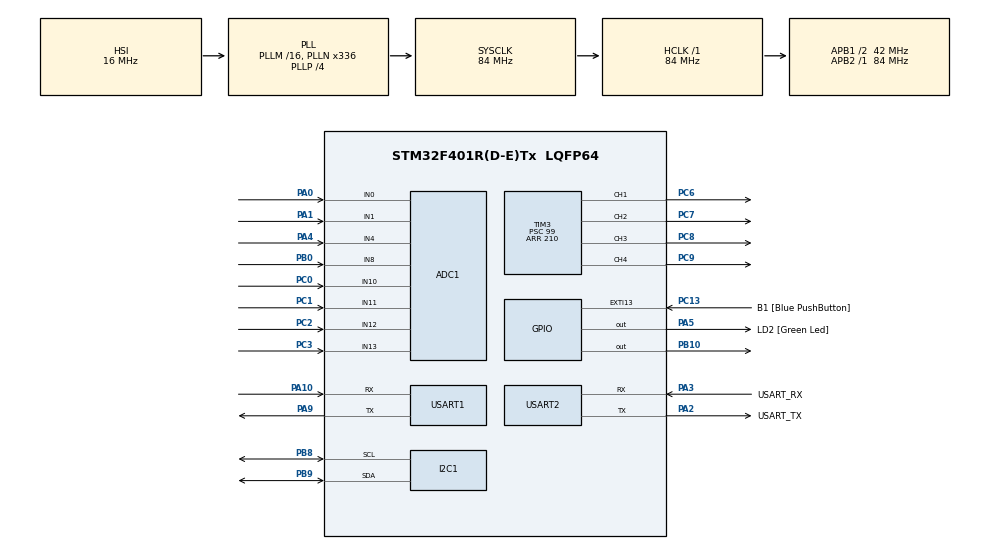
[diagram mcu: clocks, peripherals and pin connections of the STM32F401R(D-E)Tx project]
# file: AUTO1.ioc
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ADC1.Channel-0\#ChannelRegularConversion=ADC_CHANNEL_1
ADC1.Channel-1\#ChannelRegularConversion=ADC_CHANNEL_4
ADC1.Channel-2\#ChannelRegularConversion=ADC_CHANNEL_8
ADC1.Channel-3\#ChannelRegularConversion=ADC_CHANNEL_11
ADC1.Channel-4\#ChannelRegularConversion=ADC_CHANNEL_10
ADC1.Channel-5\#ChannelRegularConversion=ADC_CHANNEL_12
ADC1.Channel-6\#ChannelRegularConversion=ADC_CHANNEL_13
ADC1.DMAContinuousRequests=ENABLE
ADC1.EOCSelection=ADC_EOC_SEQ_CONV
ADC1.NbrOfConversion=8
ADC1.NbrOfConversionFlag=1
ADC1.Rank-0\#ChannelRegularConversion=2
ADC1.Rank-1\#ChannelRegularConversion=3
ADC1.Rank-2\#ChannelRegularConversion=4
ADC1.Rank-3\#ChannelRegularConversion=5
ADC1.Rank-4\#ChannelRegularConversion=6
ADC1.Rank-5\#ChannelRegularConversion=7
ADC1.Rank-6\#ChannelRegularConversion=8
ADC1.SamplingTime-0\#ChannelRegularConversion=ADC_SAMPLETIME_15CYCLES
ADC1.SamplingTime-1\#ChannelRegularConversion=ADC_SAMPLETIME_15CYCLES
ADC1.SamplingTime-2\#ChannelRegularConversion=ADC_SAMPLETIME_15CYCLES
ADC1.SamplingTime-3\#ChannelRegularConversion=ADC_SAMPLETIME_15CYCLES
ADC1.SamplingTime-4\#ChannelRegularConversion=ADC_SAMPLETIME_15CYCLES
ADC1.SamplingTime-5\#ChannelRegularConversion=ADC_SAMPLETIME_15CYCLES
ADC1.SamplingTime-6\#ChannelRegularConversion=ADC_SAMPLETIME_15CYCLES
ADC1.master=1
Dma.ADC1.0.Direction=DMA_PERIPH_TO_MEMORY
Dma.ADC1.0.FIFOMode=DMA_FIFOMODE_DISABLE
Dma.ADC1.0.Instance=DMA2_Stream0
Dma.ADC1.0.MemDataAlignment=DMA_MDATAALIGN_HALFWORD
Dma.ADC1.0.MemInc=DMA_MINC_ENABLE
Dma.ADC1.0.Mode=DMA_NORMAL
Dma.ADC1.0.PeriphDataAlignment=DMA_PDATAALIGN_HALFWORD
Dma.ADC1.0.PeriphInc=DMA_PINC_DISABLE
Dma.ADC1.0.Priority=DMA_PRIORITY_LOW
Dma.Request0=ADC1
Mcu.Family=STM32F4
Mcu.Name=STM32F401R(D-E)Tx
Mcu.Package=LQFP64
NVIC.ADC_IRQn=true\:0\:0\:false\:false\:true\:true\:true
NVIC.DMA2_Stream0_IRQn=true\:0\:0\:false\:false\:true\:false\:true
NVIC.I2C1_ER_IRQn=true\:0\:0\:false\:false\:true\:true\:true
NVIC.I2C1_EV_IRQn=true\:0\:0\:false\:false\:true\:true\:true
NVIC.PriorityGroup=NVIC_PRIORITYGROUP_0
NVIC.TIM4_IRQn=true\:0\:0\:false\:false\:true\:true\:true
NVIC.USART1_IRQn=true\:0\:0\:false\:false\:true\:true\:true
NVIC.USART2_IRQn=true\:0\:0\:false\:false\:true\:true\:true
PA0-WKUP.Signal=ADCx_IN0
PA1.Signal=ADCx_IN1
PA10.Mode=Asynchronous
PA10.Signal=USART1_RX
PA13.GPIO_Label=TMS
PA13.Mode=Serial_Wire
PA13.Signal=SYS_JTMS-SWDIO
PA14.GPIO_Label=TCK
PA14.Mode=Serial_Wire
PA14.Signal=SYS_JTCK-SWCLK
PA2.GPIO_Label=USART_TX
PA2.GPIO_Mode=GPIO_MODE_AF_PP
PA2.GPIO_PuPd=GPIO_NOPULL
PA2.GPIO_Speed=GPIO_SPEED_FREQ_LOW
PA2.Mode=Asynchronous
PA2.Signal=USART2_TX
PA3.GPIO_Label=USART_RX
PA3.GPIO_Mode=GPIO_MODE_AF_PP
PA3.GPIO_PuPd=GPIO_NOPULL
PA3.GPIO_Speed=GPIO_SPEED_FREQ_LOW
PA3.Mode=Asynchronous
PA3.Signal=USART2_RX
PA4.Signal=ADCx_IN4
PA5.GPIO_Label=LD2 [Green Led]
PA5.GPIO_Mode=GPIO_MODE_OUTPUT_PP
PA5.GPIO_PuPd=GPIO_NOPULL
PA5.GPIO_Speed=GPIO_SPEED_FREQ_LOW
PA5.Signal=GPIO_Output
PA9.Mode=Asynchronous
PA9.Signal=USART1_TX
PB0.Signal=ADCx_IN8
PB10.Signal=GPIO_Output
PB3.GPIO_Label=SWO
PB3.Signal=SYS_JTDO-SWO
PB8.Mode=I2C
PB8.Signal=I2C1_SCL
PB9.Mode=I2C
PB9.Signal=I2C1_SDA
PC0.Signal=ADCx_IN10
PC1.Signal=ADCx_IN11
PC13-ANTI_TAMP.GPIO_Label=B1 [Blue PushButton]
PC13-ANTI_TAMP.GPIO_ModeDefaultEXTI=GPIO_MODE_IT_FALLING
PC13-ANTI_TAMP.GPIO_PuPd=GPIO_NOPULL
PC13-ANTI_TAMP.Signal=GPXTI13
PC14-OSC32_IN.Mode=LSE-External-Oscillator
PC14-OSC32_IN.Signal=RCC_OSC32_IN
PC15-OSC32_OUT.Mode=LSE-External-Oscillator
PC15-OSC32_OUT.Signal=RCC_OSC32_OUT
PC2.Signal=ADCx_IN12
PC3.Signal=ADCx_IN13
PC6.Signal=S_TIM3_CH1
PC7.Signal=S_TIM3_CH2
PC8.Signal=S_TIM3_CH3
PC9.Signal=S_TIM3_CH4
PH0\ -\ OSC_IN.Mode=HSE-External-Clock-Source
PH0\ -\ OSC_IN.Signal=RCC_OSC_IN
PH1\ -\ OSC_OUT.Mode=HSE-External-Clock-Source
PH1\ -\ OSC_OUT.Signal=RCC_OSC_OUT
ProjectManager.HeapSize=0x200
ProjectManager.StackSize=0x400
ProjectManager.TargetToolchain=STM32CubeIDE
RCC.48MHZClocksFreq_Value=48000000
RCC.AHBFreq_Value=84000000
RCC.APB1CLKDivider=RCC_HCLK_DIV2
RCC.APB1Freq_Value=42000000
RCC.APB1TimFreq_Value=84000000
RCC.APB2Freq_Value=84000000
RCC.APB2TimFreq_Value=84000000
RCC.CortexFreq_Value=84000000
RCC.HCLKFreq_Value=84000000
RCC.HSE_VALUE=8000000
RCC.HSI_VALUE=16000000
RCC.PLLN=336
RCC.PLLP=RCC_PLLP_DIV4
RCC.PLLQ=7
RCC.SYSCLKFreq_VALUE=84000000
RCC.SYSCLKSource=RCC_SYSCLKSOURCE_PLLCLK
RCC.VCOOutputFreq_Value=336000000
SH.ADCx_IN0.0=ADC1_IN0,IN0
SH.ADCx_IN1.0=ADC1_IN1,IN1
SH.ADCx_IN10.0=ADC1_IN10,IN10
SH.ADCx_IN11.0=ADC1_IN11,IN11
SH.ADCx_IN12.0=ADC1_IN12,IN12
SH.ADCx_IN13.0=ADC1_IN13,IN13
SH.ADCx_IN4.0=ADC1_IN4,IN4
SH.ADCx_IN8.0=ADC1_IN8,IN8
SH.S_TIM3_CH1.0=TIM3_CH1,PWM Generation1 CH1
SH.S_TIM3_CH2.0=TIM3_CH2,PWM Generation2 CH2
SH.S_TIM3_CH3.0=TIM3_CH3,PWM Generation3 CH3
SH.S_TIM3_CH4.0=TIM3_CH4,PWM Generation4 CH4
TIM3.AutoReloadPreload=TIM_AUTORELOAD_PRELOAD_ENABLE
TIM3.Channel-PWM\ Generation1\ CH1=TIM_CHANNEL_1
TIM3.Channel-PWM\ Generation2\ CH2=TIM_CHANNEL_2
TIM3.Channel-PWM\ Generation3\ CH3=TIM_CHANNEL_3
TIM3.Channel-PWM\ Generation4\ CH4=TIM_CHANNEL_4
TIM3.Period=210
TIM3.Prescaler=99
TIM3.Pulse-PWM\ Generation1\ CH1=0
TIM3.Pulse-PWM\ Generation3\ CH3=0
TIM3.Pulse-PWM\ Generation4\ CH4=0
TIM4.AutoReloadPreload=TIM_AUTORELOAD_PRELOAD_ENABLE
TIM4.Period=42
TIM4.Prescaler=999
USART1.VirtualMode=VM_ASYNC
USART2.VirtualMode=VM_ASYNC
VP_TIM3_VS_ClockSourceINT.Mode=Internal
VP_TIM4_VS_ClockSourceINT.Mode=Internal
board=NUCLEO-F401RE

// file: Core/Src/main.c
/* USER CODE BEGIN Header */
/**
  ******************************************************************************
  * @file           : main.c
  * @brief          : Main program body
  ******************************************************************************
  * @attention
  *
  * <h2><center>&copy; Copyright (c) 2021 STMicroelectronics.
  * All rights reserved.</center></h2>
  *
  * This software component is licensed by ST under BSD 3-Clause license,
  * the "License"; You may not use this file except in compliance with the
  * License. You may obtain a copy of the License at:
  *                        opensource.org/licenses/BSD-3-Clause
  *
  ******************************************************************************
  */
/* USER CODE END Header */
#include "main.h"

/* USER CODE BEGIN Includes */
#include "string.h"
#include "stdlib.h"
/* USER CODE END Includes */

/* USER CODE BEGIN PTD */
 typedef union{
        uint8_t u8[4];
        int8_t  i8[4];

        uint16_t u16[2];
        int16_t  i16[2];

        uint32_t u32;
        int32_t  i32;

        float    f;
}_sWork;

typedef union{
    struct{
        uint8_t b0:1;
        uint8_t b1:1;
        uint8_t b2:1;
        uint8_t b3:1;
        uint8_t b4:1;
        uint8_t b5:1;
        uint8_t b6:1;
        uint8_t b7:1;
    }bit;
    uint8_t byte;
}flag;

flag flag1;

/* USER CODE END PTD */

/* USER CODE BEGIN PM */
#define race flag1.bit.b0

#define UART_PC		2
#define UART_ESP	1
#define LONG_CWJAP_MEGA	40
#define LONG_CWJAP_MICROS	35
#define LONG_ANS_CWJAP_MEGA	74
#define LONG_ANS_CWJAP_MICROS 70
const char CWJAP_MEGA[]={'A','T','+','C','W','J','A','P','=','"','M','E','G','A','C','A','B','L','E','-','7','0','"',',','"','6','0','2','A','D','0','7','4','F','7','7','0','"','\r','\n'};
const char CWJAP_MICROS[]={'A','T','+','C','W','J','A','P','=','"','M','I','C','R','O','S','"',',','"','m','i','c','r','o','s','1','2','3','4','5','6','7','"','\r','\n'};
const char CIFSR[]={"AT+CIFSR\r\n"};
const char CIPMUX[]={"AT+CIPMUX=0\r\n"};
const char CIPSTART[]={'A','T','+','C','I','P','S','T','A','R','T','=','"','U','D','P',
					   '"',',','"','1','9','2','.','1','6','8','.','0','.','1','3','"',',',
					   '3','0','0','1','6',',','3','0','1','6','\r','\n'};
const char CIPSEND[]={"AT+CIPSEND="};
const char CIPCLOSE[]={"AT+CIPCLOSE\r\n"};
const char CWQAP[]={"AT+CWQAP\r\n"};
const char CWMODE[]={"AT+CWMODE=3\r\n"};
const char ANS_CWQAP[]={"AT+CWQAP\r\n\r\nOK\r\n"};
const char ANS_CWMODE[]={"AT+CWMODE=3\r\n\r\nOK\r\n"};

const char ANS_CWJAP_MEGA[]={'A','T','+','C','W','J','A','P','=','"','M','E','G','A','C','A','B','L','E','-','7','0','"',',','"','6','0','2','A','D','0','7','4','F','7','7','0','"',
						'\r','\n','W','I','F','I',' ','C','O','N','N','E','C','T','E','D','\r','\n','W','I','F','I',
						' ','G','O','T','I','P','\r','\n','\r','\n','O','K','\r','\n'};

const char ANS_CWJAP_MICROS[]={'A','T','+','C','W','J','A','P','=','"','M','I','C','R','O','S','"',',','"','m','i','c','r','o','s','1','2','3','4','5','6','7',
						'"','\r','\n','W','I','F','I',' ','C','O','N','N','E','C','T','E','D','\r','\n','W','I','F','I',
						' ','G','O','T','I','P','\r','\n','\r','\n','O','K','\r','\n'};

const char ANS_CIPMUX[]={"AT+CIPMUX=0\r\n\r\nOK\r\n"};
const char ANS_CIPSTART[]={'A','T','+','C','I','P','S','T','A','R','T','=','"','U','D','P',
						   '"',',','"','1','9','2','.','1','6','8','.','0','.','1','3','"',',','3','0','0','1','6',',','3','0','1','6','\r',
						   '\n','C','O','N','N','E','C','T','\r','\n','\r','\n','O','K','\r','\n'};//59

const char ANS_CIPSEND[]={};
const char AUTOMATIC_WIFI_CONNECTED[]={"WIFI CONNECTED\r\nWIFI GOT IP\r\n"};
const char WIFI_DISCONNECT[]={"WIFI DISCONNECT\r\n"};

const char CIFSR_STAIP[]={"+CIFSR:STAIP,"};
const char OK[]={"\r\nOK\r\n"};

//const char CIPSEND_4BYTES[]={'A','T','+','C','I','P','S','E','N','D','=','8','\r','\n','\r','\n','O','K','\r','\n','>'};
const char CIPSEND1[]={'A','T','+','C','I','P','S','E','N','D','='};
const char CIPSEND2[]={'\r','\n','\r','\n','O','K','\r','\n','>'};
const char CIPSEND3[]={"Recv"};
const char CIPSEND4[]={" bytes\r\n\r\nSEND OK\r\n"};//25

const char ALIVE[]={'U','N','E','R', 0x02 ,':',0xF0};

const char IPD[]={'\r','\n','+','I','P','D',','};
const char UNER[]={'U','N','E','R'};

const char ACK_D0[]={'U','N','E','R',0x03,':',0xD0,0x0D,0xDC};
/* USER CODE END PM */

ADC_HandleTypeDef hadc1;
DMA_HandleTypeDef hdma_adc1;

I2C_HandleTypeDef hi2c1;

TIM_HandleTypeDef htim3;
TIM_HandleTypeDef htim4;

UART_HandleTypeDef huart1;
UART_HandleTypeDef huart2;

/* USER CODE BEGIN PV */
uint16_t ADCData[32][8];

volatile uint8_t bufferTxESP[256];
volatile uint8_t bufferRxESP[256];
volatile uint8_t bufferDebug[256];
volatile uint8_t indexR_TxESP=0;
volatile uint8_t indexW_TxESP=0;
volatile uint8_t indexR_RxESP=0;
volatile uint8_t indexW_RxESP=0;
volatile uint8_t indexR_Debug=0;
volatile uint8_t indexW_Debug=0;
uint8_t AT=0;
volatile uint16_t timeOut=0;
volatile uint16_t timeOut2=0;
volatile uint16_t timeOut3=0;
volatile uint16_t timeOut4=0;
uint8_t duty=0;
uint8_t readyToSend=0;
uint8_t espReadyToRecieve=0;
uint8_t decodeCIPSEND=0;
uint8_t decodeCIFSR=0;
char espIP[15];
uint8_t lengthIP=0;

uint8_t cmdUNERprotocol;
uint8_t bytesUNERprotocol;
uint8_t decodeIPD;
uint8_t cantBytes;
uint8_t cks;
uint8_t bytesToSend;
uint8_t comando=0xF0;
volatile uint8_t indexADC=0;
uint8_t bytesToSend_aux=0;

_sWork PWM_motor1,PWM_motor2,jobTime,valueADC;
/* USER CODE END PV */

void SystemClock_Config(void);
static void MX_GPIO_Init(void);
static void MX_USART2_UART_Init(void);
static void MX_ADC1_Init(void);
static void MX_I2C1_Init(void);
static void MX_TIM3_Init(void);
static void MX_USART1_UART_Init(void);
static void MX_DMA_Init(void);
static void MX_TIM4_Init(void);
/* USER CODE BEGIN PFP */
void HAL_UART_RxCpltCallback(UART_HandleTypeDef *huart);

void uartTX(uint8_t uart);

void initESP();
void DecodeAnsESP();
void udpCom(uint8_t cmd);
void DecodeCommands();
void readADC();
/* USER CODE END PFP */

/* USER CODE BEGIN 0 */
void HAL_ADC_ConvCpltCallback(ADC_HandleTypeDef* hadc)
{
	indexADC++;
	if(indexADC == 32)
		indexADC=0;
}

void HAL_UART_RxCpltCallback(UART_HandleTypeDef *huart){
	if(&(*huart)==&huart2){
		//indexW_PC++;
		//HAL_UART_Receive_IT(&huart2, &bufferPC[indexW_PC], 1);
	}

	if(&(*huart)==&huart1){
		indexW_RxESP++;
		HAL_UART_Receive_IT(&huart1, &bufferRxESP[indexW_RxESP], 1);
	}
}

void HAL_TIM_PeriodElapsedCallback(TIM_HandleTypeDef *htim){
	if(htim->Instance == TIM4){	//TIMER 4:	500us
		HAL_ADC_Start_DMA(&hadc1, (uint32_t *)&ADCData[indexADC],8);
		if(timeOut>0)
			timeOut--;
		if(timeOut2>0)
			timeOut2--;
		if(timeOut3>0)
			timeOut3--;
		if(timeOut4>0)
			timeOut4--;
	}
}

void readADC(){
//	if(indexADC>0)
//		valueADC.u16[0]=ADCData[indexADC-1][0];
}

void uartTX(uint8_t uart){

	if(uart == UART_PC ){
		if((huart2.Instance->SR & UART_FLAG_TXE)==UART_FLAG_TXE){
			huart2.Instance->DR=bufferDebug[indexR_Debug];
			indexR_Debug++;
		}
	}

	if(uart == UART_ESP ){
		if((huart1.Instance->SR & UART_FLAG_TXE)==UART_FLAG_TXE){
			huart1.Instance->DR=bufferTxESP[indexR_TxESP];
			indexR_TxESP++;
		}
	}
}

void  initESP(){

	if(readyToSend){
		switch(AT){
			case 0:
				memcpy(&bufferTxESP[indexW_TxESP],CWMODE,13);
				indexW_TxESP+=13;
				timeOut2=200;
				readyToSend=0;
				break;
			case 1:
				timeOut2=20000;
				readyToSend=0;
				break;
			case 2:
				memcpy(&bufferTxESP[indexW_TxESP],CWJAP_MEGA,LONG_CWJAP_MEGA);
				indexW_TxESP+=LONG_CWJAP_MEGA;
				timeOut2=2000;
				readyToSend=0;
				break;
			case 3:
				memcpy(&bufferTxESP[indexW_TxESP],CIPMUX,13);
				indexW_TxESP+=13;
				timeOut2=200;
				readyToSend=0;
				break;
			case 4:
				memcpy(&bufferTxESP[indexW_TxESP],CIFSR,10);
				indexW_TxESP+=10;
				timeOut2=4000;
				readyToSend=0;
				break;
			case 5:
				memcpy(&bufferTxESP[indexW_TxESP],CIPSTART,45);
				indexW_TxESP+=45;
				timeOut2=2000;
				readyToSend=0;
				break;
			case 6:
				duty++;
				break;
		}
	}
}

void DecodeAnsESP(){
	static uint8_t i=0,k=2;

	bufferDebug[indexW_Debug]=bufferRxESP[indexR_RxESP];
	indexW_Debug++;

	switch(AT){
		case 0:
			if(bufferRxESP[indexR_RxESP]==ANS_CWMODE[i]){
				i++;
				if(i==19){
					AT++;
					i=0;
					readyToSend=1;
				}
			}else{
				if(i>0){
					indexR_RxESP=indexW_RxESP;
					readyToSend=1;
					i=0;
				}
			}
			indexR_RxESP++;
			break;

		case 1:
			if(bufferRxESP[indexR_RxESP]==AUTOMATIC_WIFI_CONNECTED[i]){
				i++;
				if(i==29){
					AT=3;
					i=0;
					readyToSend=1;
				}
			}
			else{
				if(bufferRxESP[indexR_RxESP]==WIFI_DISCONNECT[i]){
					i++;
					if(i==17){
						AT=0;
						i=0;
						readyToSend=1;
						HAL_GPIO_WritePin(GPIOB, GPIO_PIN_10, GPIO_PIN_RESET);//Reset ESP8266
						timeOut=2000;
					}
				}else{
					AT=2;
					i=0;
					readyToSend=1;
				}
			}
			indexR_RxESP++;
			break;
		case 2:
			if(bufferRxESP[indexR_RxESP]==ANS_CWJAP_MEGA[i]){
				i++;

				if(i==LONG_ANS_CWJAP_MEGA){
					AT++;
					i=0;
					readyToSend=1;
				}
			}
			else{
				if(i>0){
					indexR_RxESP=indexW_RxESP;
					readyToSend=1;
					i=0;
					break;
				}
			}
			indexR_RxESP++;
			break;
		case 3:
			if(bufferRxESP[indexR_RxESP]==ANS_CIPMUX[i]){
				i++;
				if(i==19){
					AT++;
					i=0;
					readyToSend=1;
				}
			}else{
				if(i>0){
					indexR_RxESP=indexW_RxESP;
					readyToSend=1;
					i=0;
					break;
				}
			}
			indexR_RxESP++;
			break;
		case 4:
			switch(decodeCIFSR){
				case 0:
					if(bufferRxESP[indexR_RxESP]==CIFSR[i]){
						i++;

						if(i==10){
							decodeCIFSR++;
							i=0;
						}
					}else{
						if(i>0){
							indexR_RxESP=indexW_RxESP;
							readyToSend=1;
							i=0;
							break;
						}
					}
					indexR_RxESP++;
					break;
				case 1:
					if(bufferRxESP[indexR_RxESP]==CIFSR_STAIP[i]){
						i++;
						if(i==13){
							decodeCIFSR++;
							i=0;
						}
					}
					indexR_RxESP++;
					break;
				case 2:
					espIP[i]=bufferRxESP[indexR_RxESP];
					i++;
					lengthIP++;
					indexR_RxESP++;
					if((bufferRxESP[indexR_RxESP]=='"')&&(lengthIP>1)){
						i=0;
						decodeCIFSR++;
					}
					break;
				case 3:
					if(bufferRxESP[indexR_RxESP]==OK[i]){
						i++;
						if(i==6){
							AT++;
							i=0;
							readyToSend=1;
							decodeCIFSR=0;
						}
					}
					indexR_RxESP++;
					break;
			}

			break;
		case 5:
			if(bufferRxESP[indexR_RxESP]==ANS_CIPSTART[i]){
				i++;
				if(i==60){
					AT++;
					i=0;
					readyToSend=1;
				}
			}else{
				if(i>0){
					indexR_RxESP=indexW_RxESP;
					readyToSend=1;
					i=0;
					break;
				}
			}
			indexR_RxESP++;
			break;
		case 6:
			switch(decodeCIPSEND){
					case 0:
						if(bufferRxESP[indexR_RxESP]==CIPSEND1[i]){
							i++;
							if(i==11){
								i=0;
								decodeCIPSEND++;
							}
						}
						else{
							if(i>0){
								indexR_RxESP=indexW_RxESP;
								readyToSend=1;
								i=0;
								break;
							}
						}
						indexR_RxESP++;
						break;
					case 1:
						if((bufferRxESP[indexR_RxESP]==bytesToSend+'0')&&((bytesToSend<10))){
							decodeCIPSEND=3;
						}else{

							if(bufferRxESP[indexR_RxESP]==bytesToSend/10+'0'){
								decodeCIPSEND++;
								bytesToSend_aux=bytesToSend/10;
								bytesToSend_aux*=10;
							}

						}
						indexR_RxESP++;
						break;
					case 2:
						if(bufferRxESP[indexR_RxESP]==bytesToSend-bytesToSend_aux+'0'){
							decodeCIPSEND++;
						}
						indexR_RxESP++;
						break;
					case 3:
						if(bufferRxESP[indexR_RxESP]==CIPSEND2[i]){
							i++;
							if(i==9){
								i=0;
								decodeCIPSEND++;
								espReadyToRecieve=1;
								readyToSend=1;
							}
						}
						indexR_RxESP++;
						break;
					case 4:
						if(bufferRxESP[indexR_RxESP]==CIPSEND3[i]){
							i++;
							if(i==4){
								i=0;
								decodeCIPSEND++;
							}
						}
						indexR_RxESP++;
						break;
					case 5:
						if((bufferRxESP[indexR_RxESP]==bytesToSend+'0')&&((bytesToSend<10))){
							decodeCIPSEND=7;
						}else{

							if(bufferRxESP[indexR_RxESP]==bytesToSend/10+'0'){
								decodeCIPSEND++;
							}

						}
						indexR_RxESP++;
						break;
					case 6:
						if(bufferRxESP[indexR_RxESP]==bytesToSend-bytesToSend_aux+'0'){
							decodeCIPSEND++;
						}
						indexR_RxESP++;
						break;
					case 7:
						if(bufferRxESP[indexR_RxESP]==CIPSEND4[i]){
							i++;
							if(i==19){
								i=0;
								decodeCIPSEND=0;
								readyToSend=1;
								AT++;
							}
						}

						indexR_RxESP++;
						break;
				}

			break;
		case 7:
			timeOut2=2;
			switch(decodeIPD){
				case 0:
					if(bufferRxESP[indexR_RxESP]==IPD[i]){
						i++;

						if(i==7){
							i=0;
							decodeIPD++;
						}
					}
					else{
						if(i>0){
							indexR_RxESP=indexW_RxESP;
							i=0;
							break;
						}
					}
					indexR_RxESP++;
					break;
				case 1:
					if(bufferRxESP[indexR_RxESP]==':'){
						decodeIPD++;
					}
					indexR_RxESP++;
					break;
				case 2:
					if(bufferRxESP[indexR_RxESP]==UNER[i]){
						i++;
						if(i==4){
							i=0;
							decodeIPD++;
							cks='U'^'N'^'E'^'R';
						}
					}else{
						if(i>0){
							indexR_RxESP=indexW_RxESP;
							i=0;
							decodeIPD=0;
							break;
						}
					}
					indexR_RxESP++;
					break;
				case 3:
					bytesUNERprotocol=bufferRxESP[indexR_RxESP];
					decodeIPD++;
					cks^=bufferRxESP[indexR_RxESP];
					indexR_RxESP++;
					break;
				case 4:
					if(bufferRxESP[indexR_RxESP]==':'){
						decodeIPD++;
						cks^=bufferRxESP[indexR_RxESP];

					}else{
						indexR_RxESP=indexW_RxESP;
						i=0;
						decodeIPD=0;
						break;
					}
					indexR_RxESP++;
					break;
				case 5:
					cmdUNERprotocol=bufferRxESP[indexR_RxESP];
					decodeIPD++;
					cks^=bufferRxESP[indexR_RxESP];
					indexR_RxESP++;
					i=indexR_RxESP;
					break;
				case 6:
					if(k<bytesUNERprotocol){
						cks^=bufferRxESP[i];
						i++;
						k++;
					}else{
						if(cks==bufferRxESP[i]){
							DecodeCommands();
							indexR_RxESP++;
							k=2;
							i=0;
							decodeIPD=0;
						}else{
							indexR_RxESP=indexW_RxESP;
							i=0;
							decodeIPD=0;
							k=2;
						}
					}
					break;
			}
			break;
	}
}

void udpCom(uint8_t cmd){
	if(readyToSend){
		switch(cmd){
			case 0xF0:
				if(!espReadyToRecieve){
					AT=6;
					memcpy(&bufferTxESP[indexW_TxESP],CIPSEND,11);
					indexW_TxESP+=11;
					memcpy(&bufferTxESP[indexW_TxESP],"8\r\n",3);
					indexW_TxESP+=3;
					bytesToSend=8;
					timeOut2=400;
					readyToSend=0;
				}
				else{
					memcpy(&bufferTxESP[indexW_TxESP],ALIVE,7);
					indexW_TxESP+=7;
					bufferTxESP[indexW_TxESP]='U'^'N'^'E'^'R'^0x02^':'^0xF0;
					indexW_TxESP++;
					espReadyToRecieve=0;
					duty++;
					timeOut=400;
				}
				break;
			case 0xD0:
				if(!espReadyToRecieve){
					AT=6;
					memcpy(&bufferTxESP[indexW_TxESP],CIPSEND,11);
					indexW_TxESP+=11;
					memcpy(&bufferTxESP[indexW_TxESP],"9\r\n",3);
					indexW_TxESP+=3;
					bytesToSend=9;
					timeOut2=400;
					readyToSend=0;
				}
				else{
					memcpy(&bufferTxESP[indexW_TxESP],ACK_D0,9);
					indexW_TxESP+=9;
					bufferTxESP[indexW_TxESP]='U'^'N'^'E'^'R'^0x03^':'^0xD0^0x0D;
					indexW_TxESP++;
					espReadyToRecieve=0;
					duty++;
				}
				break;
			case 0xA1:
				if(!espReadyToRecieve){
					AT=6;
					memcpy(&bufferTxESP[indexW_TxESP],CIPSEND,11);
					indexW_TxESP+=11;
					memcpy(&bufferTxESP[indexW_TxESP],"10\r\n",4);
					indexW_TxESP+=4;
					bytesToSend=10;
					timeOut2=200;
					readyToSend=0;
				}
				else{
					memcpy(&bufferTxESP[indexW_TxESP],UNER,4);
					indexW_TxESP+=4;
					bufferTxESP[indexW_TxESP]=0x04;
					indexW_TxESP++;
					bufferTxESP[indexW_TxESP]=':';
					indexW_TxESP++;
					bufferTxESP[indexW_TxESP]=0xA1;
					indexW_TxESP++;
					bufferTxESP[indexW_TxESP]=valueADC.u8[0];
					indexW_TxESP++;
					bufferTxESP[indexW_TxESP]=valueADC.u8[1];
					indexW_TxESP++;
					bufferTxESP[indexW_TxESP]='U'^'N'^'E'^'R'^0x04^':'^0xA1^valueADC.u8[0]^valueADC.u8[1];
					indexW_TxESP++;
					espReadyToRecieve=0;
					readyToSend=0;
					timeOut=2000;
					timeOut2=200;
				}
				break;
		}
	}
}

void DecodeCommands(){
	switch(cmdUNERprotocol){
//		case 0xF0:
//			duty=2;
//			readyToSend=1;
//			AT=6;
//			indexR_RxESP=indexW_RxESP;
//			break;

		case 0xD0://COMANDO EN HEX 55 4E 45 52 0E 3A D0 C8 00 00 00 C8 00 00 00 88 13 00 00 73 (5 SEG)
			//55 4E 45 52 0E 3A D0 C8 00 00 00 C8 00 00 00 E8 03 00 00 03 (1 SEG)
			//55 4E 45 52 0E 3A D0 C8 00 00 00 C8 00 00 00 D0 07 00 00 3F (2 SEG)
			PWM_motor1.u8[0]=bufferRxESP[indexR_RxESP];
			indexR_RxESP++;
			PWM_motor1.u8[1]=bufferRxESP[indexR_RxESP];
			indexR_RxESP++;
			PWM_motor1.u8[2]=bufferRxESP[indexR_RxESP];
			indexR_RxESP++;
			PWM_motor1.u8[3]=bufferRxESP[indexR_RxESP];
			indexR_RxESP++;

			PWM_motor2.u8[0]=bufferRxESP[indexR_RxESP];
			indexR_RxESP++;
			PWM_motor2.u8[1]=bufferRxESP[indexR_RxESP];
			indexR_RxESP++;
			PWM_motor2.u8[2]=bufferRxESP[indexR_RxESP];
			indexR_RxESP++;
			PWM_motor2.u8[3]=bufferRxESP[indexR_RxESP];
			indexR_RxESP++;

			jobTime.u8[0]=bufferRxESP[indexR_RxESP];
			indexR_RxESP++;
			jobTime.u8[1]=bufferRxESP[indexR_RxESP];
			indexR_RxESP++;
			jobTime.u8[2]=bufferRxESP[indexR_RxESP];
			indexR_RxESP++;
			jobTime.u8[3]=bufferRxESP[indexR_RxESP];
			indexR_RxESP++;

			timeOut4=jobTime.u32/100;

			__HAL_TIM_SET_COMPARE(&htim3,TIM_CHANNEL_1,PWM_motor1.u32);
			__HAL_TIM_SET_COMPARE(&htim3,TIM_CHANNEL_2,0);
			__HAL_TIM_SET_COMPARE(&htim3,TIM_CHANNEL_3,0);
			__HAL_TIM_SET_COMPARE(&htim3,TIM_CHANNEL_4,PWM_motor2.u32);
			race=1;
			duty=2;
			comando=0xD0;
			readyToSend=1;
			break;

	}
}

/* USER CODE END 0 */

int main(void)
{

  /* MCU Configuration--------------------------------------------------------*/

  /* Reset of all peripherals, Initializes the Flash interface and the Systick. */
  HAL_Init();

  /* Configure the system clock */
  SystemClock_Config();

  /* Initialize all configured peripherals */
  MX_GPIO_Init();
  MX_USART2_UART_Init();
  MX_ADC1_Init();
  MX_I2C1_Init();
  MX_TIM3_Init();
  MX_USART1_UART_Init();
  MX_DMA_Init();
  MX_TIM4_Init();
  /* USER CODE BEGIN 2 */
  HAL_TIM_Base_Start(&htim3);

  HAL_TIM_PWM_Start(&htim3, TIM_CHANNEL_1);
  HAL_TIM_PWM_Start(&htim3, TIM_CHANNEL_2);
  HAL_TIM_PWM_Start(&htim3, TIM_CHANNEL_3);
  HAL_TIM_PWM_Start(&htim3, TIM_CHANNEL_4);
  /* USER CODE END 2 */

  /* Infinite loop */
  /* USER CODE BEGIN WHILE */
  HAL_TIM_Base_Start_IT(&htim4);
  //HAL_UART_Receive_IT(&huart2, &bufferPC[indexW_PC], 1);
  HAL_GPIO_WritePin(GPIOB, GPIO_PIN_10, GPIO_PIN_SET);//ESP8266 Pin Enable
  timeOut2=6000;
  timeOut3=2000;
  timeOut=6000;
  readyToSend=1;
  race=0;
  duty=0;
  while (1)
  {
    /* USER CODE END WHILE */

    /* USER CODE BEGIN 3 */
	  if(!timeOut3){
		  HAL_GPIO_TogglePin(GPIOA, GPIO_PIN_5);
		  timeOut3=2000;
		  readADC();

	  }
	  switch(duty){
	  	  case 0:
	  		  if(!timeOut){
	  			 initESP();
	  			 HAL_UART_Receive_IT(&huart1, &bufferRxESP[indexW_RxESP], 1);
	  		  	  duty++;
	  		  }
	  		  break;
	  	  case 1:
	  		  initESP();
	  		  break;
	  	  case 2:
	  		  udpCom(comando);
	  		  break;
	  	  case 3:
	  		  if(!timeOut)
	  			  udpCom(0xA1);
	  		  break;
	  }

	  if((HAL_GPIO_ReadPin(GPIOB, GPIO_PIN_10)==GPIO_PIN_RESET)&&(!timeOut)){
		  HAL_UART_AbortReceive_IT(&huart1);
		  HAL_GPIO_WritePin(GPIOB, GPIO_PIN_10, GPIO_PIN_SET);//ESP8266 Pin Enable
		  timeOut=30;
		  AT=1;
		  duty=0;
	  }

	  if(indexR_TxESP!=indexW_TxESP){
		  uartTX(UART_ESP);
	  }

	  if(indexR_Debug!=indexW_Debug){
		  uartTX(UART_PC);
	  }

	  if((indexR_RxESP!=indexW_RxESP)&&(!timeOut2)){
		  DecodeAnsESP();
	  }

	  if((!timeOut4)&&(race)){
		race=0;
		__HAL_TIM_SET_COMPARE(&htim3,TIM_CHANNEL_1,0);
		__HAL_TIM_SET_COMPARE(&htim3,TIM_CHANNEL_2,0);
		__HAL_TIM_SET_COMPARE(&htim3,TIM_CHANNEL_3,0);
		__HAL_TIM_SET_COMPARE(&htim3,TIM_CHANNEL_4,0);
	  }
  }
  /* USER CODE END 3 */
}

void SystemClock_Config(void)
{
  RCC_OscInitTypeDef RCC_OscInitStruct = {0};
  RCC_ClkInitTypeDef RCC_ClkInitStruct = {0};

  /** Configure the main internal regulator output voltage
  */
  __HAL_RCC_PWR_CLK_ENABLE();
  __HAL_PWR_VOLTAGESCALING_CONFIG(PWR_REGULATOR_VOLTAGE_SCALE2);
  /** Initializes the RCC Oscillators according to the specified parameters
  * in the RCC_OscInitTypeDef structure.
  */
  RCC_OscInitStruct.OscillatorType = RCC_OSCILLATORTYPE_HSI;
  RCC_OscInitStruct.HSIState = RCC_HSI_ON;
  RCC_OscInitStruct.HSICalibrationValue = RCC_HSICALIBRATION_DEFAULT;
  RCC_OscInitStruct.PLL.PLLState = RCC_PLL_ON;
  RCC_OscInitStruct.PLL.PLLSource = RCC_PLLSOURCE_HSI;
  RCC_OscInitStruct.PLL.PLLM = 16;
  RCC_OscInitStruct.PLL.PLLN = 336;
  RCC_OscInitStruct.PLL.PLLP = RCC_PLLP_DIV4;
  RCC_OscInitStruct.PLL.PLLQ = 7;
  if (HAL_RCC_OscConfig(&RCC_OscInitStruct) != HAL_OK)
  {
    Error_Handler();
  }
  /** Initializes the CPU, AHB and APB buses clocks
  */
  RCC_ClkInitStruct.ClockType = RCC_CLOCKTYPE_HCLK|RCC_CLOCKTYPE_SYSCLK
                              |RCC_CLOCKTYPE_PCLK1|RCC_CLOCKTYPE_PCLK2;
  RCC_ClkInitStruct.SYSCLKSource = RCC_SYSCLKSOURCE_PLLCLK;
  RCC_ClkInitStruct.AHBCLKDivider = RCC_SYSCLK_DIV1;
  RCC_ClkInitStruct.APB1CLKDivider = RCC_HCLK_DIV2;
  RCC_ClkInitStruct.APB2CLKDivider = RCC_HCLK_DIV1;

  if (HAL_RCC_ClockConfig(&RCC_ClkInitStruct, FLASH_LATENCY_2) != HAL_OK)
  {
    Error_Handler();
  }
}

static void MX_ADC1_Init(void)
{

  ADC_ChannelConfTypeDef sConfig = {0};

  /** Configure the global features of the ADC (Clock, Resolution, Data Alignment and number of conversion)
  */
  hadc1.Instance = ADC1;
  hadc1.Init.ClockPrescaler = ADC_CLOCK_SYNC_PCLK_DIV4;
  hadc1.Init.Resolution = ADC_RESOLUTION_12B;
  hadc1.Init.ScanConvMode = ENABLE;
  hadc1.Init.ContinuousConvMode = DISABLE;
  hadc1.Init.DiscontinuousConvMode = DISABLE;
  hadc1.Init.ExternalTrigConvEdge = ADC_EXTERNALTRIGCONVEDGE_NONE;
  hadc1.Init.ExternalTrigConv = ADC_SOFTWARE_START;
  hadc1.Init.DataAlign = ADC_DATAALIGN_RIGHT;
  hadc1.Init.NbrOfConversion = 8;
  hadc1.Init.DMAContinuousRequests = ENABLE;
  hadc1.Init.EOCSelection = ADC_EOC_SEQ_CONV;
  if (HAL_ADC_Init(&hadc1) != HAL_OK)
  {
    Error_Handler();
  }
  /** Configure for the selected ADC regular channel its corresponding rank in the sequencer and its sample time.
  */
  sConfig.Channel = ADC_CHANNEL_1;
  sConfig.Rank = 2;
  sConfig.SamplingTime = ADC_SAMPLETIME_15CYCLES;
  if (HAL_ADC_ConfigChannel(&hadc1, &sConfig) != HAL_OK)
  {
    Error_Handler();
  }
  /** Configure for the selected ADC regular channel its corresponding rank in the sequencer and its sample time.
  */
  sConfig.Channel = ADC_CHANNEL_4;
  sConfig.Rank = 3;
  if (HAL_ADC_ConfigChannel(&hadc1, &sConfig) != HAL_OK)
  {
    Error_Handler();
  }
  /** Configure for the selected ADC regular channel its corresponding rank in the sequencer and its sample time.
  */
  sConfig.Channel = ADC_CHANNEL_8;
  sConfig.Rank = 4;
  if (HAL_ADC_ConfigChannel(&hadc1, &sConfig) != HAL_OK)
  {
    Error_Handler();
  }
  /** Configure for the selected ADC regular channel its corresponding rank in the sequencer and its sample time.
  */
  sConfig.Channel = ADC_CHANNEL_11;
  sConfig.Rank = 5;
  if (HAL_ADC_ConfigChannel(&hadc1, &sConfig) != HAL_OK)
  {
    Error_Handler();
  }
  /** Configure for the selected ADC regular channel its corresponding rank in the sequencer and its sample time.
  */
  sConfig.Channel = ADC_CHANNEL_10;
  sConfig.Rank = 6;
  if (HAL_ADC_ConfigChannel(&hadc1, &sConfig) != HAL_OK)
  {
    Error_Handler();
  }
  /** Configure for the selected ADC regular channel its corresponding rank in the sequencer and its sample time.
  */
  sConfig.Channel = ADC_CHANNEL_12;
  sConfig.Rank = 7;
  if (HAL_ADC_ConfigChannel(&hadc1, &sConfig) != HAL_OK)
  {
    Error_Handler();
  }
  /** Configure for the selected ADC regular channel its corresponding rank in the sequencer and its sample time.
  */
  sConfig.Channel = ADC_CHANNEL_13;
  sConfig.Rank = 8;
  if (HAL_ADC_ConfigChannel(&hadc1, &sConfig) != HAL_OK)
  {
    Error_Handler();
  }

}

static void MX_I2C1_Init(void)
{

  hi2c1.Instance = I2C1;
  hi2c1.Init.ClockSpeed = 100000;
  hi2c1.Init.DutyCycle = I2C_DUTYCYCLE_2;
  hi2c1.Init.OwnAddress1 = 0;
  hi2c1.Init.AddressingMode = I2C_ADDRESSINGMODE_7BIT;
  hi2c1.Init.DualAddressMode = I2C_DUALADDRESS_DISABLE;
  hi2c1.Init.OwnAddress2 = 0;
  hi2c1.Init.GeneralCallMode = I2C_GENERALCALL_DISABLE;
  hi2c1.Init.NoStretchMode = I2C_NOSTRETCH_DISABLE;
  if (HAL_I2C_Init(&hi2c1) != HAL_OK)
  {
    Error_Handler();
  }

}

static void MX_TIM3_Init(void)
{

  TIM_ClockConfigTypeDef sClockSourceConfig = {0};
  TIM_MasterConfigTypeDef sMasterConfig = {0};
  TIM_OC_InitTypeDef sConfigOC = {0};

  htim3.Instance = TIM3;
  htim3.Init.Prescaler = 99;
  htim3.Init.CounterMode = TIM_COUNTERMODE_UP;
  htim3.Init.Period = 210;
  htim3.Init.ClockDivision = TIM_CLOCKDIVISION_DIV1;
  htim3.Init.AutoReloadPreload = TIM_AUTORELOAD_PRELOAD_ENABLE;
  if (HAL_TIM_Base_Init(&htim3) != HAL_OK)
  {
    Error_Handler();
  }
  sClockSourceConfig.ClockSource = TIM_CLOCKSOURCE_INTERNAL;
  if (HAL_TIM_ConfigClockSource(&htim3, &sClockSourceConfig) != HAL_OK)
  {
    Error_Handler();
  }
  if (HAL_TIM_PWM_Init(&htim3) != HAL_OK)
  {
    Error_Handler();
  }
  sMasterConfig.MasterOutputTrigger = TIM_TRGO_RESET;
  sMasterConfig.MasterSlaveMode = TIM_MASTERSLAVEMODE_DISABLE;
  if (HAL_TIMEx_MasterConfigSynchronization(&htim3, &sMasterConfig) != HAL_OK)
  {
    Error_Handler();
  }
  sConfigOC.OCMode = TIM_OCMODE_PWM1;
  sConfigOC.Pulse = 0;
  sConfigOC.OCPolarity = TIM_OCPOLARITY_HIGH;
  sConfigOC.OCFastMode = TIM_OCFAST_DISABLE;
  if (HAL_TIM_PWM_ConfigChannel(&htim3, &sConfigOC, TIM_CHANNEL_1) != HAL_OK)
  {
    Error_Handler();
  }
  if (HAL_TIM_PWM_ConfigChannel(&htim3, &sConfigOC, TIM_CHANNEL_2) != HAL_OK)
  {
    Error_Handler();
  }
  if (HAL_TIM_PWM_ConfigChannel(&htim3, &sConfigOC, TIM_CHANNEL_3) != HAL_OK)
  {
    Error_Handler();
  }
  if (HAL_TIM_PWM_ConfigChannel(&htim3, &sConfigOC, TIM_CHANNEL_4) != HAL_OK)
  {
    Error_Handler();
  }
  HAL_TIM_MspPostInit(&htim3);

}

static void MX_TIM4_Init(void)
{

  TIM_ClockConfigTypeDef sClockSourceConfig = {0};
  TIM_MasterConfigTypeDef sMasterConfig = {0};

  htim4.Instance = TIM4;
  htim4.Init.Prescaler = 999;
  htim4.Init.CounterMode = TIM_COUNTERMODE_UP;
  htim4.Init.Period = 42;
  htim4.Init.ClockDivision = TIM_CLOCKDIVISION_DIV1;
  htim4.Init.AutoReloadPreload = TIM_AUTORELOAD_PRELOAD_ENABLE;
  if (HAL_TIM_Base_Init(&htim4) != HAL_OK)
  {
    Error_Handler();
  }
  sClockSourceConfig.ClockSource = TIM_CLOCKSOURCE_INTERNAL;
  if (HAL_TIM_ConfigClockSource(&htim4, &sClockSourceConfig) != HAL_OK)
  {
    Error_Handler();
  }
  sMasterConfig.MasterOutputTrigger = TIM_TRGO_RESET;
  sMasterConfig.MasterSlaveMode = TIM_MASTERSLAVEMODE_DISABLE;
  if (HAL_TIMEx_MasterConfigSynchronization(&htim4, &sMasterConfig) != HAL_OK)
  {
    Error_Handler();
  }

}

static void MX_USART1_UART_Init(void)
{

  huart1.Instance = USART1;
  huart1.Init.BaudRate = 115200;
  huart1.Init.WordLength = UART_WORDLENGTH_8B;
  huart1.Init.StopBits = UART_STOPBITS_1;
  huart1.Init.Parity = UART_PARITY_NONE;
  huart1.Init.Mode = UART_MODE_TX_RX;
  huart1.Init.HwFlowCtl = UART_HWCONTROL_NONE;
  huart1.Init.OverSampling = UART_OVERSAMPLING_16;
  if (HAL_UART_Init(&huart1) != HAL_OK)
  {
    Error_Handler();
  }

}

static void MX_USART2_UART_Init(void)
{

  huart2.Instance = USART2;
  huart2.Init.BaudRate = 115200;
  huart2.Init.WordLength = UART_WORDLENGTH_8B;
  huart2.Init.StopBits = UART_STOPBITS_1;
  huart2.Init.Parity = UART_PARITY_NONE;
  huart2.Init.Mode = UART_MODE_TX_RX;
  huart2.Init.HwFlowCtl = UART_HWCONTROL_NONE;
  huart2.Init.OverSampling = UART_OVERSAMPLING_16;
  if (HAL_UART_Init(&huart2) != HAL_OK)
  {
    Error_Handler();
  }

}

static void MX_DMA_Init(void)
{

  /* DMA controller clock enable */
  __HAL_RCC_DMA2_CLK_ENABLE();

  /* DMA interrupt init */
  /* DMA2_Stream0_IRQn interrupt configuration */
  HAL_NVIC_SetPriority(DMA2_Stream0_IRQn, 0, 0);
  HAL_NVIC_EnableIRQ(DMA2_Stream0_IRQn);

}

static void MX_GPIO_Init(void)
{
  GPIO_InitTypeDef GPIO_InitStruct = {0};

  /* GPIO Ports Clock Enable */
  __HAL_RCC_GPIOC_CLK_ENABLE();
  __HAL_RCC_GPIOH_CLK_ENABLE();
  __HAL_RCC_GPIOA_CLK_ENABLE();
  __HAL_RCC_GPIOB_CLK_ENABLE();

  /*Configure GPIO pin Output Level */
  HAL_GPIO_WritePin(LD2_GPIO_Port, LD2_Pin, GPIO_PIN_RESET);

  /*Configure GPIO pin Output Level */
  HAL_GPIO_WritePin(GPIOB, GPIO_PIN_10, GPIO_PIN_RESET);

  /*Configure GPIO pin : B1_Pin */
  GPIO_InitStruct.Pin = B1_Pin;
  GPIO_InitStruct.Mode = GPIO_MODE_IT_FALLING;
  GPIO_InitStruct.Pull = GPIO_NOPULL;
  HAL_GPIO_Init(B1_GPIO_Port, &GPIO_InitStruct);

  /*Configure GPIO pin : LD2_Pin */
  GPIO_InitStruct.Pin = LD2_Pin;
  GPIO_InitStruct.Mode = GPIO_MODE_OUTPUT_PP;
  GPIO_InitStruct.Pull = GPIO_NOPULL;
  GPIO_InitStruct.Speed = GPIO_SPEED_FREQ_LOW;
  HAL_GPIO_Init(LD2_GPIO_Port, &GPIO_InitStruct);

  /*Configure GPIO pin : PB10 */
  GPIO_InitStruct.Pin = GPIO_PIN_10;
  GPIO_InitStruct.Mode = GPIO_MODE_OUTPUT_PP;
  GPIO_InitStruct.Pull = GPIO_NOPULL;
  GPIO_InitStruct.Speed = GPIO_SPEED_FREQ_LOW;
  HAL_GPIO_Init(GPIOB, &GPIO_InitStruct);

}

void Error_Handler(void)
{
  __disable_irq();
  while (1)
  {
  }
}

/************************ (C) COPYRIGHT STMicroelectronics *****END OF FILE****/
